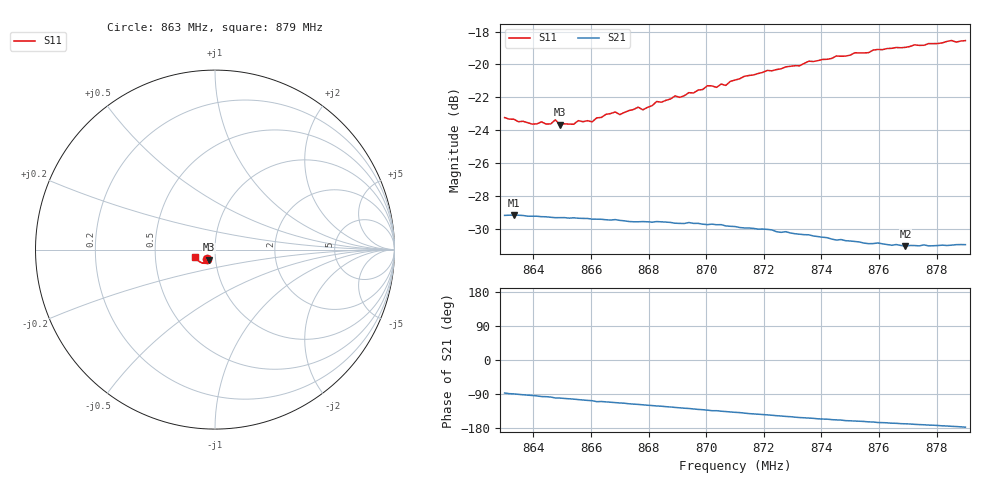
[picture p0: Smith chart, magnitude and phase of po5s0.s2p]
# HZ S RI R 50
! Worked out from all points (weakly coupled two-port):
!   101 points, 863 MHz to 879 MHz, reference 50 ohm
!   highest |S21| = -29.15 dB at 863.32 MHz (marker M1); lowest = -31.0 dB at 876.92 MHz (marker M2)
!   lowest |S11| = -23.7 dB at 864.92 MHz (marker M3), VSWR 1.14, Z = 46.4 - j5.18 ohm
!   |S11| at or under -10 dB: start of sweep to end of sweep
!   S12 and S22 are empty: the file has one direction only
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8.63e8  -0.0425 -0.0544  0.00178 -0.0348  0 0  0 0
8.6332e8  -0.0416 -0.054  0.000401 -0.0349  0 0  0 0
8.6396e8  -0.0373 -0.0543  -0.00219 -0.0345  0 0  0 0
8.646e8  -0.0361 -0.0552  -0.00464 -0.034  0 0  0 0
8.6476e8  -0.0377 -0.0565  -0.00604 -0.0337  0 0  0 0
8.6492e8  -0.0349 -0.0557  -0.00619 -0.0337  0 0  0 0
8.6572e8  -0.0332 -0.0582  -0.00918 -0.0328  0 0  0 0
8.6604e8  -0.0328 -0.0583  -0.0101 -0.0324  0 0  0 0
8.6652e8  -0.0332 -0.0623  -0.0118 -0.0316  0 0  0 0
8.6684e8  -0.0335 -0.0635  -0.0129 -0.0312  0 0  0 0
8.67e8  -0.0329 -0.0623  -0.0133 -0.0309  0 0  0 0
8.6764e8  -0.0355 -0.0651  -0.0152 -0.0296  0 0  0 0
8.678e8  -0.0342 -0.0642  -0.0158 -0.0294  0 0  0 0
8.6828e8  -0.0363 -0.0681  -0.0173 -0.0285  0 0  0 0
8.6844e8  -0.0349 -0.0684  -0.0176 -0.0282  0 0  0 0
8.7004e8  -0.043 -0.0747  -0.022 -0.0241  0 0  0 0
8.7036e8  -0.0434 -0.0733  -0.0226 -0.0235  0 0  0 0
8.71e8  -0.0493 -0.0749  -0.0239 -0.0215  0 0  0 0
8.7372e8  -0.0691 -0.0751  -0.0271 -0.0132  0 0  0 0
8.7644e8  -0.0935 -0.0615  -0.0275 -0.00647  0 0  0 0
8.7692e8  -0.0962 -0.0587  -0.0275 -0.00565  0 0  0 0
8.79e8  -0.1114 -0.0393  -0.0283 -0.00139  0 0  0 0
